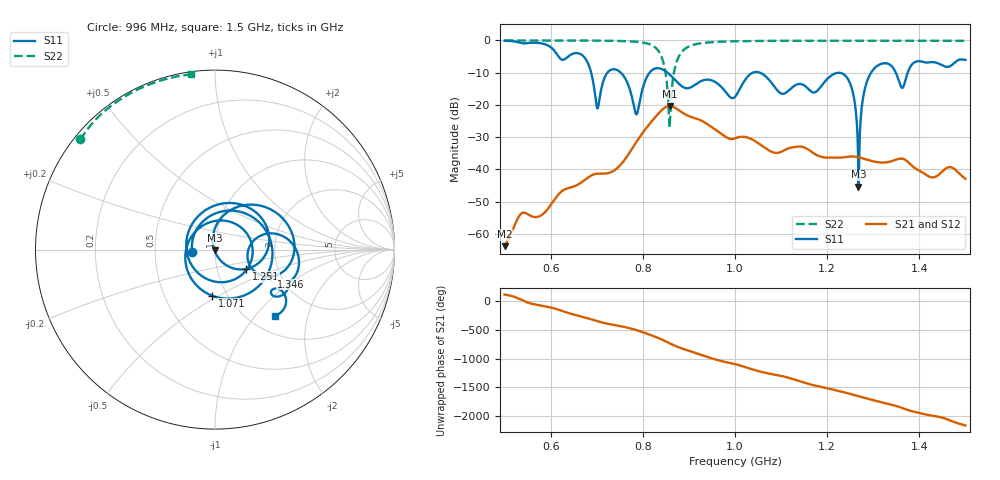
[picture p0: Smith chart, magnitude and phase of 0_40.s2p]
! TOUCHSTONE file generated by CST MICROWAVE STUDIO
! Date and time: Sat Oct 24 10:48:16 2020
! Project name: Scenario_1_Planar_Body_Tissue_Center.cst
! Parameters = {hfat=3; hmuscle=50; hskin=1.5; hgap=25; Wtissue=700; Ltissue=700; L_HA=400; MT=2.54; Rad_Dielectric=30; Rad_Lower=7.3; Rad_Upper=30; a_HA=580; a_WG=246; b_HA=500; b_WG=121; c_HA=0; c_WG=187; d_feed=85; dx1=848.48; h_feed=15; h_lower=18; h_upper=40}
! Header version: 2018
! Port assignment regex: !\s*Touchstone port\s*([0-9]+)\s*=\s*(CST MWS port|CST DS port)\s*([0-9]+|Zmin|Zmax)\s*\(\"(.*)\"\)(\s*mode\s*([0-9]+))?.*
! Touchstone port assignment:
! Touchstone port 1 = CST MWS port 1 ("")
! Touchstone port 2 = CST MWS port 2 ("")
# GHz S DB R 50
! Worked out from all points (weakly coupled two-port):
!   1003 points, 500 MHz to 1.5 GHz, reference 50 ohm
!   highest |S21| = -20.36 dB at 858 MHz (marker M1); lowest = -63.9 dB at 500 MHz (marker M2)
!   lowest |S11| = -45.4 dB at 1.268 GHz (marker M3), VSWR 1.01, Z = 49.7 - j0.467 ohm
!   |S11| at or under -10 dB: 752.1 MHz to 814.6 MHz (62.44 MHz wide, 7.97 % of centre); 853.5 MHz to 1.039 GHz (185.3 MHz wide, 19.6 % of centre); 1.054 GHz to 1.295 GHz (241.5 MHz wide, 20.6 % of centre) (the widest 3 of 5)
!   |S22| runs from -27.0 to 0.0 dB; largest |S21 - S12| = 2.9e-05
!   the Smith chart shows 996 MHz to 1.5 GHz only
!   S11 on the Smith chart (normalised r, x): 996 MHz: 0.78, -0.02; 1.071 GHz: 0.85, -0.47; 1.251 GHz: 1.38, -0.31; 1.346 GHz: 1.79, -0.61; 1.5 GHz: 1.29, -1.27
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0.5  -0.09 -122.0  -63.86 115.7  -63.86 115.7  -0.01 151.1
0.584  -1.03 -167.9  -53.81 -83.0  -53.81 -83.0  -0.02 145.3
0.667  -4.44 131.5  -44.03 92.9  -44.03 92.9  -0.04 138.4
0.701  -21.06 -31.7  -41.37 12.1  -41.37 12.1  -0.07 134.7
0.74  -8.98 145.3  -40.16 -57.0  -40.16 -57.0  -0.14 129.3
0.786  -22.95 -38.6  -31.52 -142.1  -31.52 -142.1  -0.42 118.5
0.834  -8.63 93.9  -22.68 78.2  -22.68 78.2  -3.29 83.7
0.858  -10.55 15.6  -20.36 -11.0  -20.36 -11.0  -27.04 -47.2
0.888  -14.53 -98.8  -22.62 -111.2  -22.61 -111.2  -3.02 178.6
0.928  -12.53 89.5  -24.97 141.7  -24.97 141.7  -0.84 155.0
0.996  -17.91 -173.1  -30.58 -6.1  -30.58 -6.1  -0.27 140.7
1  -17.50 162.6  -30.41 -13.4  -30.41 -13.4  -0.26 140.2
1.04  -9.93 1.1  -30.94 -110.7  -30.94 -110.7  -0.18 135.4
1.071  -11.77 -93.1  -33.92 -175.0  -33.92 -175.0  -0.14 132.3
1.167  -16.00 -134.3  -34.67 -14.4  -34.67 -14.4  -0.10 124.2
1.205  -11.33 73.3  -36.37 -82.3  -36.37 -82.3  -0.09 121.2
1.251  -13.79 -31.8  -36.02 -174.9  -36.02 -174.9  -0.08 117.8
1.268  -45.40 -119.0  -36.28 146.2  -36.28 146.2  -0.08 116.5
1.289  -11.79 64.5  -37.12 100.7  -37.12 100.7  -0.08 114.9
1.334  -7.34 -8.9  -37.70 12.8  -37.70 12.8  -0.09 111.5
1.346  -9.16 -25.4  -37.17 -12.9  -37.17 -12.9  -0.09 110.6
1.5  -6.06 -48.1  -42.95 -0.6  -42.95 -0.6  -0.13 97.9
